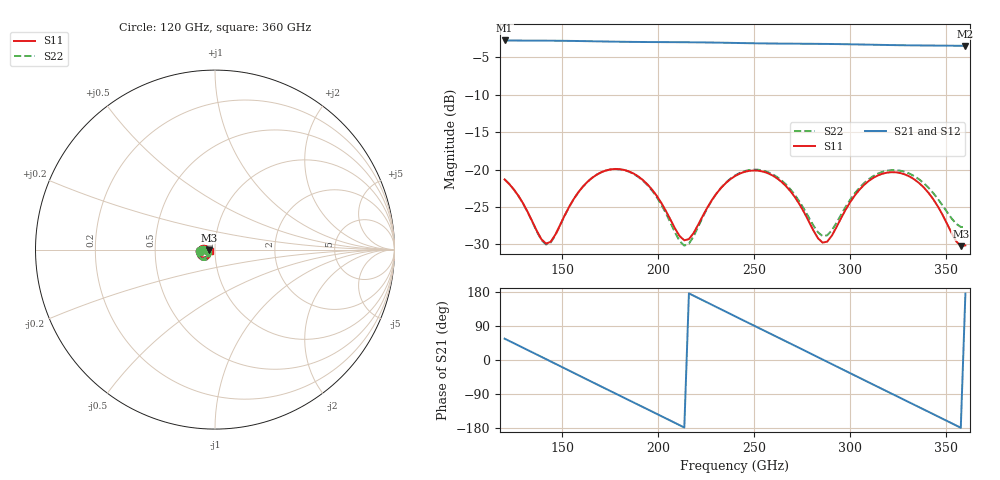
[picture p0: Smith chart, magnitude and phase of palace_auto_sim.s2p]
#  GHZ S DB R 50
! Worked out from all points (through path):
!   101 points, 120 GHz to 360 GHz, reference 50 ohm
!   highest |S21| = -2.76 dB at 120 GHz (marker M1); lowest = -3.5 dB at 360 GHz (marker M2)
!   group delay of S21, straight-line fit = 6.96 ps
!   lowest |S11| = -30.2 dB at 357.6 GHz (marker M3), VSWR 1.06, Z = 47 - j0.261 ohm
!   |S11| at or under -10 dB: start of sweep to end of sweep
!   |S22| runs from -30.2 to -19.9 dB; largest |S21 - S12| = 8.2e-14
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120  -21.32 -176.1  -2.76 56.3  -2.76 56.3  -21.31 -175.7
132  -25.65 173.2  -2.77 26.3  -2.77 26.3  -25.68 173.4
141.6  -29.89 -159.9  -2.79 2.3  -2.79 2.3  -30.01 -159.3
151.2  -26.17 -128.2  -2.81 -21.9  -2.81 -21.9  -26.20 -127.2
160.8  -22.27 -133.1  -2.84 -46.1  -2.84 -46.1  -22.27 -132.3
170.4  -20.35 -147.9  -2.89 -70.1  -2.89 -70.1  -20.35 -147.3
180  -19.94 -164.9  -2.93 -94.1  -2.93 -94.1  -19.96 -164.5
189.6  -20.91 178.8  -2.96 -118.1  -2.96 -118.1  -20.97 178.9
201.6  -24.44 165.9  -2.98 -148.0  -2.98 -148.0  -24.67 165.5
213.6  -29.44 -168.6  -2.99 -178.2  -2.99 -178.2  -30.15 -166.2
225.6  -25.06 -136.7  -3.03 151.6  -3.03 151.6  -25.14 -132.2
240  -20.87 -151.0  -3.09 115.5  -3.09 115.5  -20.79 -147.4
249.6  -20.12 -166.9  -3.13 91.5  -3.13 91.5  -20.00 -163.4
259.2  -20.74 177.1  -3.16 67.5  -3.16 67.5  -20.57 -179.2
280.8  -28.11 167.9  -3.21 13.5  -3.21 13.5  -27.46 172.3
288  -29.62 -161.5  -3.22 -4.6  -3.22 -4.6  -28.78 -160.3
297.6  -25.37 -139.9  -3.26 -28.8  -3.26 -28.8  -24.99 -139.7
309.6  -21.53 -150.1  -3.32 -58.9  -3.32 -58.9  -21.29 -148.5
321.6  -20.35 -169.3  -3.37 -88.9  -3.37 -88.9  -20.07 -166.5
338.4  -22.41 164.7  -3.43 -130.8  -3.43 -130.8  -21.83 169.9
357.6  -30.23 -174.8  -3.47 -178.8  -3.47 -178.8  -27.66 -175.3
360  -30.12 -162.4  -3.48 175.1  -3.48 175.1  -27.67 -167.2
